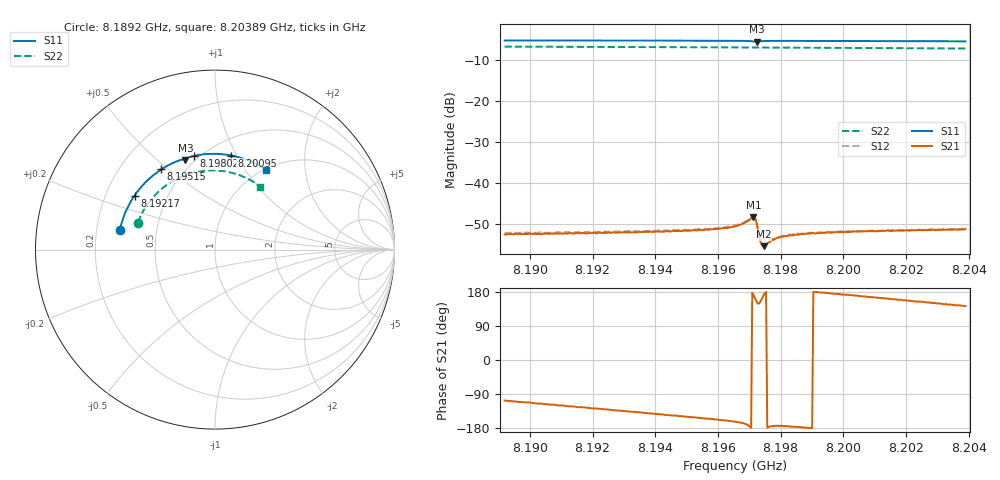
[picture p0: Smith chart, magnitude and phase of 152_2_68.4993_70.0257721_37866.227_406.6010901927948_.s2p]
#  HZ  S  RI  R  50.00
! Rohde & Schwarz Vector Network Analyzer
! Rohde-Schwarz,ZNB20-2Port,1311601062101988,3.16
! Created: UTC 3/20/2024, 4:55:19 PM
! freq[Hz]  re:S11  im:S11  re:S21  im:S21  re:S12  im:S12  re:S22  im:S22
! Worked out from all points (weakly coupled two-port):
!   401 points, 8.1892 GHz to 8.20389 GHz, reference 50 ohm
!   highest |S21| = -48.33 dB at 8.19713 GHz (marker M1); lowest = -55.4 dB at 8.19746 GHz (marker M2)
!   lowest |S11| = -5.6 dB at 8.19724 GHz (marker M3), VSWR 3.20, Z = 22.6 + j31 ohm
!   |S11| at or under -10 dB: nowhere
!   |S22| runs from -7.3 to -6.8 dB; largest |S21 - S12| = 0.00022
!   S11 on the Smith chart (normalised r, x): 8.1892 GHz: 0.30, +0.09; 8.19217 GHz: 0.32, +0.28; 8.19515 GHz: 0.38, +0.47; 8.19802 GHz: 0.47, +0.69; 8.20095 GHz: 0.65, +0.95; 8.20389 GHz: 1.01, +1.25
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8.189196e9  -0.5299 0.1104  -0.000695 -0.00226  -0.000773 -0.00234  -0.43 0.1503
8.191658e9  -0.4674 0.2708  -0.00138 -0.00203  -0.00149 -0.00206  -0.3639 0.269
8.192172e9  -0.4481 0.3012  -0.00156 -0.00192  -0.00164 -0.00194  -0.3456 0.291
8.19412e9  -0.3571 0.4034  -0.00205 -0.00155  -0.00218 -0.00155  -0.2649 0.3629
8.195149e9  -0.2992 0.447  -0.00232 -0.00129  -0.00241 -0.00124  -0.2157 0.3924
8.196068e9  -0.2424 0.4791  -0.0026 -0.00103  -0.00268 -0.00098  -0.1686 0.4133
8.196545e9  -0.2107 0.4932  -0.00285 -0.00086  -0.00295 -0.000792  -0.1432 0.4221
8.196766e9  -0.1949 0.4985  -0.00308 -0.000748  -0.00314 -0.000654  -0.1314 0.4252
8.19706e9  -0.1716 0.5021  -0.0037 -7.71e-05  -0.0038 0.000116  -0.1154 0.4294
8.197133e9  -0.166 0.5  -0.00379 0.000546  -0.00381 0.000695  -0.1112 0.4303
8.19717e9  -0.1647 0.4986  -0.00365 0.000971  -0.0037 0.00111  -0.1093 0.4306
8.197243e9  -0.1648 0.4968  -0.00282 0.00147  -0.00279 0.00159  -0.1054 0.4314
8.197354e9  -0.1639 0.5027  -0.00175 0.000861  -0.00176 0.000944  -0.0995 0.4327
8.19739e9  -0.1619 0.5052  -0.00169 0.00061  -0.0017 0.00069  -0.0976 0.4332
8.197464e9  -0.157 0.5089  -0.00169 0.00023  -0.0017 0.000322  -0.0934 0.4341
8.197721e9  -0.1379 0.5167  -0.00199 -0.00018  -0.00204 -9.43e-05  -0.079 0.4364
8.198015e9  -0.1168 0.5222  -0.00219 -0.000244  -0.00223 -0.000137  -0.0625 0.4388
8.198493e9  -0.0828 0.5285  -0.00236 -0.000147  -0.00241 -6.99e-05  -0.0358 0.4407
8.199007e9  -0.0461 0.5324  -0.00248 -1.09e-05  -0.00246 0.000109  -0.0066 0.4412
8.200955e9  0.0912 0.5242  -0.00251 0.000665  -0.0025 0.000801  0.1027 0.4256
8.201469e9  0.1266 0.5162  -0.00249 0.000841  -0.00248 0.00096  0.1305 0.4168
8.203895e9  0.2826 0.4462  -0.00218 0.0017  -0.00213 0.00175  0.2524 0.3503
